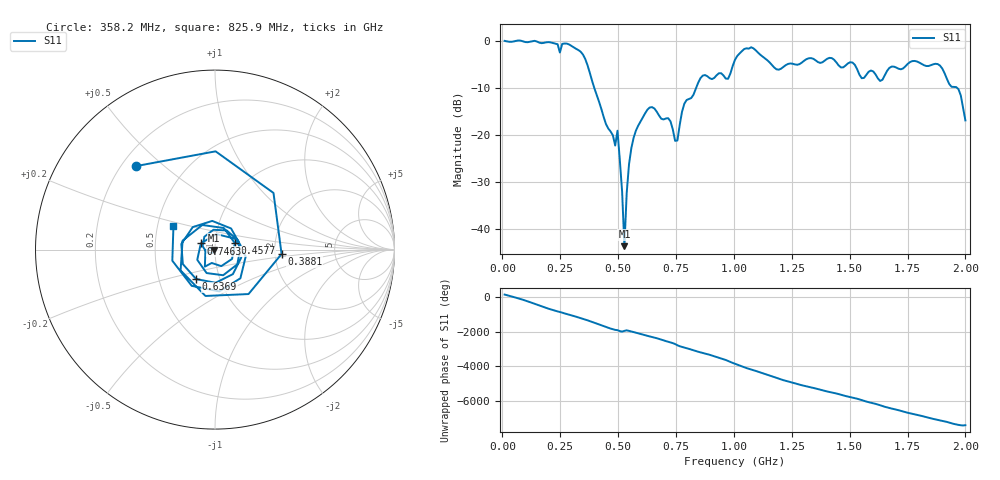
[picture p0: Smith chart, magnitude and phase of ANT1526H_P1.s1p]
!Created with skrf (http://scikit-rf.org).
# Hz S RI R 50.0
!freq ReS11 ImS11
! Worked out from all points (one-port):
!   201 points, 10 MHz to 2 GHz, reference 50 ohm
!   lowest |S11| = -43.7 dB at 527.4 MHz (marker M1), VSWR 1.01, Z = 49.4 - j0.212 ohm
!   |S11| at or under -10 dB: 397 MHz to 837.7 MHz (440.7 MHz wide, 71.4 % of centre); 1.963 GHz to end of sweep
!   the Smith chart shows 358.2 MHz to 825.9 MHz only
!   S11 on the Smith chart (normalised r, x): 358.2 MHz: 0.26, +0.41; 388.1 MHz: 2.17, -0.12; 457.8 MHz: 1.25, +0.09; 636.9 MHz: 0.77, -0.26; 746.3 MHz: 0.85, +0.06; 825.9 MHz: 0.61, +0.17
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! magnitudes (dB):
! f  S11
! 10 MHz  0.0
! 258.8 MHz  -0.7
! 358.2 MHz  -3.9
! 388.1 MHz  -8.6
! 457.8 MHz  -18.7
! 487.6 MHz  -22.3
! 497.6 MHz  -19.1
! 507.5 MHz  -25.3
! 527.4 MHz  -43.7
! 537.4 MHz  -32.3
! 557.2 MHz  -22.9
! 636.9 MHz  -14.2
! 716.5 MHz  -16.5
! 746.3 MHz  -21.3
! 756.2 MHz  -21.2
! 786.1 MHz  -13.4
! 825.9 MHz  -11.5
! 865.7 MHz  -7.4
! 975.1 MHz  -8.1
! 1.005 GHz  -4.1
! 1.075 GHz  -1.4
! 1.254 GHz  -4.9
! 1.502 GHz  -4.6
! 1.632 GHz  -8.6
! 1.751 GHz  -4.9
! 1.891 GHz  -5.3
! 1.97 GHz  -10.3
! 2 GHz  -17.0
